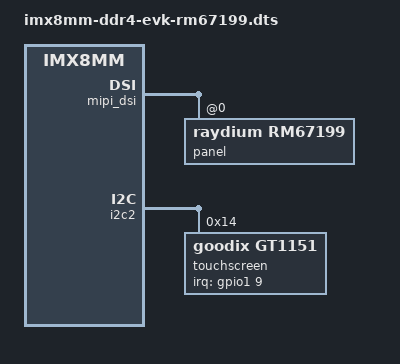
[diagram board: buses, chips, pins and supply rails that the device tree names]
// SPDX-License-Identifier: GPL-2.0+
/*
 * Copyright 2021 NXP
 */

#include "imx8mm-ddr4-evk-rm67191.dts"

/delete-node/ &synaptics_dsx_ts;

&mipi_dsi {
	panel@0 {
		compatible = "raydium,rm67199";
	};
};

&i2c2 {
	touchscreen@14 {
		compatible = "goodix,gt1151";
		reg = <0x14>;
		pinctrl-names = "default";
		pinctrl-0 = <&pinctrl_i2c2_synaptics_dsx_io>;
		interrupt-parent = <&gpio1>;
		interrupts = <9 IRQ_TYPE_EDGE_FALLING>;
		irq-gpios = <&gpio1 9 GPIO_ACTIVE_HIGH>;
		edge-failling-trigger;
		touchscreen-size-x = <1080>;
		touchscreen-size-y = <1920>;
	};
};
